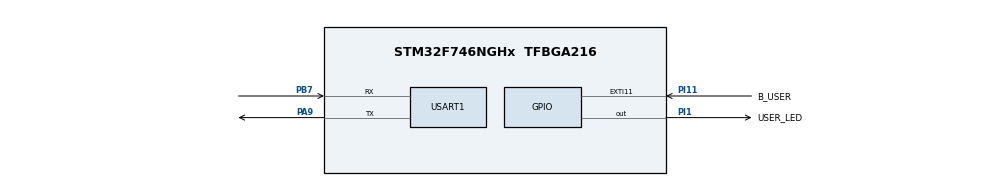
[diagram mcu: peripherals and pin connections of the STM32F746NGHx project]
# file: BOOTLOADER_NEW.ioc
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Mcu.Family=STM32F7
Mcu.Name=STM32F746NGHx
Mcu.Package=TFBGA216
NVIC.PriorityGroup=NVIC_PRIORITYGROUP_4
PA13.Mode=Serial_Wire
PA13.Signal=SYS_JTMS-SWDIO
PA14.Mode=Serial_Wire
PA14.Signal=SYS_JTCK-SWCLK
PA9.Mode=Asynchronous
PA9.Signal=USART1_TX
PB7.Mode=Asynchronous
PB7.Signal=USART1_RX
PI1.GPIO_Label=USER_LED
PI1.Signal=GPIO_Output
PI11.GPIO_Label=B_USER
PI11.Signal=GPXTI11
ProjectManager.HeapSize=0x200
ProjectManager.StackSize=0x400
ProjectManager.TargetToolchain=STM32CubeIDE
RCC.HSE_VALUE=25000000
RCC.HSI_VALUE=16000000
RCC.LSE_VALUE=32768
RCC.USBFreq_Value=96000000
RCC.VCOOutputFreq_Value=192000000
USART1.VirtualMode-Asynchronous=VM_ASYNC
VP_RTC_VS_RTC_Activate.Mode=RTC_Enabled
board=custom

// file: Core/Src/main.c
/* USER CODE BEGIN Header */
/**
  ******************************************************************************
  * @file           : main.c
  * @brief          : Main program body
  ******************************************************************************
  * @attention
  *
  * Copyright (c) 2025 STMicroelectronics.
  * All rights reserved.
  *
  * This software is licensed under terms that can be found in the LICENSE file
  * in the root directory of this software component.
  * If no LICENSE file comes with this software, it is provided AS-IS.
  *
  ******************************************************************************
  */
/* USER CODE END Header */
#include "main.h"

/* USER CODE BEGIN Includes */

#include "mem_layout.h"
#include "tiny_printf.h"

#include "jump_to_app.h"
#include "BL_Update_Part.h"      // For BL_RequestUpdate, BL_GetStatus, Bootloader_HandleUpdate
#include "BL_Functions.h"        // For Bootloader_InternalVerify
#include "bootloader_interface.h" // For Bootloader_API_t
#include "firmware_footer.h"     // For BL_Status_t, BL_OK

//Libs Include
#include "sha256.h"
#include "ecc_dsa.h"
#include "aes.h"
#include "lz4.h"
#include "cbc_mode.h"

/* USER CODE END Includes */

/* USER CODE BEGIN PM */
#define MAJOR 1			//Major Version Number
#define MINOR 2			//Minor Version Number

#define BKP_FLAG_UPDATE_REQ 0xCAFEBABE

/* USER CODE END PM */

RTC_HandleTypeDef hrtc;

UART_HandleTypeDef huart1;

void SystemClock_Config(void);
static void MX_GPIO_Init(void);
static void MX_USART1_UART_Init(void);
static void MX_RTC_Init(void);

/* USER CODE BEGIN 0 */
// [Fix: Add the Wrapper Function BEFORE the API Table]
// The API table expects a function pointer with signature: int (*VerifySlot)(uint32_t slot_id)
// But our internal function is: BL_Status_t Bootloader_InternalVerify(uint32_t slot_start, uint32_t slot_size)
// So we need this wrapper to bridge them.
int BL_VerifySlot_Wrapper(uint32_t slot_id) {
    // Note: We ignore slot_id for now and verify the active slot constants.
    // In a multi-slot system, you would switch address based on slot_id.
    if (Bootloader_InternalVerify(APP_ACTIVE_START_ADDR, APP_ACTIVE_SIZE) == BL_OK) {
        return 1; // Valid
    }
    return 0; // Invalid
}

/**
 * @brief   The Actual Shared API Table Instance.
 * @details Linker places this at 0x0800F000
 */
__attribute__((section(".shared_api_section")))
const Bootloader_API_t API_Table = {
    .magic_code = 0xDEADBEEF,
    .version = 0x0100,
    .RequestUpdate = BL_RequestUpdate,
    .GetBootStatus = BL_GetStatus,
    .VerifySlot = BL_VerifySlot_Wrapper
};

/* USER CODE END 0 */

int main(void)
{

  /* MCU Configuration--------------------------------------------------------*/

  /* Reset of all peripherals, Initializes the Flash interface and the Systick. */
  HAL_Init();

  /* Configure the system clock */
  SystemClock_Config();

  /* Initialize all configured peripherals */
  MX_GPIO_Init();
  MX_USART1_UART_Init();
  MX_RTC_Init();
  /* USER CODE BEGIN 2 */

  tfp_init(&huart1);

  printf("\r\n========================================\r\n");
	printf("Starting Bootloader Version-(%d,%d)\r\n", MAJOR, 4);
	printf("API Table Location: %p\r\n", &API_Table); // Debug print
	printf("========================================\r\n");

	printf("Jumping");
	Bootloader_JumpToApp();

	// --- 1. Check for Update Request (Magic Flag) ---
	HAL_PWR_EnableBkUpAccess();
	if (HAL_RTCEx_BKUPRead(&hrtc, RTC_BKP_DR0) == BKP_FLAG_UPDATE_REQ) {

		printf("[BL] Update Request Detected. Clearing Flag...\r\n");

		/* Clear flag */
		HAL_RTCEx_BKUPWrite(&hrtc, RTC_BKP_DR0, 0x00000000);
		HAL_PWREx_DisableBkUpReg();

		/* Perform Update (Decrypt -> Decompress -> Flash) */
		// This function will reboot on success. If it returns, update failed.
		Bootloader_HandleUpdate();
	}
	HAL_PWREx_DisableBkUpReg();

	// --- 2. Verify Application (Secure Boot) ---
	// Your friend's flow adds this check, which is CRITICAL for security.
	printf("[BL] Verifying Application integrity...\r\n");

	if (Bootloader_InternalVerify(APP_ACTIVE_START_ADDR, APP_ACTIVE_SIZE) == BL_OK) {

		printf("[BL] Verification Success! Jumping to App.\r\n");

		// Cleanup before jump
		HAL_MPU_Disable();

		Bootloader_JumpToApp();
	}
	else
	{
		// --- 3. Verification Failed (Rescue Mode) ---
		printf("[BL] CRITICAL: Verification Failed! Entering Rescue Mode.\r\n");
		printf("[BL] Status Code: 0x%08lX\r\n", BL_GetStatus());
		printf("[BL] HOLD USER BUTTON to force retry update from Download Slot.\r\n");
		// Infinite Error Loop

		while (1)
		{
			// 1. LED Blink (Hızlı Hata Modu - SOS)
			HAL_GPIO_TogglePin(GPIOI, USER_LED_Pin);
			HAL_Delay(100);

			// 2. Buton Kontrolü (User Button - Genelde PI11 veya PA0, şemaya bakın)
			// Eğer buton GPIO'su tanımlı değilse, sadece MX_GPIO_Init'e eklemeniz gerekir.
			// Örnek: Eğer Buton GPIOI Pin 11 ise:

			if (HAL_GPIO_ReadPin(GPIOI, GPIO_PIN_11) == GPIO_PIN_SET) {
				printf("[BL] User Button Detected! Forcing Update Retry...\r\n");

				// Magic Flag'i tekrar set et
				HAL_PWR_EnableBkUpAccess();
				HAL_RTCEx_BKUPWrite(&hrtc, RTC_BKP_DR0, 0xCAFEBABE);
				HAL_PWREx_DisableBkUpReg();

				// Reset at (Bootloader tekrar açılacak ve güncellemeyi deneyecek)
				NVIC_SystemReset();
			}

		}
	}

  /* USER CODE END 2 */

  /* Infinite loop */
  while (1)
  {

  }
}

void SystemClock_Config(void)
{
  RCC_OscInitTypeDef RCC_OscInitStruct = {0};
  RCC_ClkInitTypeDef RCC_ClkInitStruct = {0};

  /** Configure the main internal regulator output voltage
  */
  __HAL_RCC_PWR_CLK_ENABLE();
  __HAL_PWR_VOLTAGESCALING_CONFIG(PWR_REGULATOR_VOLTAGE_SCALE3);

  /** Initializes the RCC Oscillators according to the specified parameters
  * in the RCC_OscInitTypeDef structure.
  */
  RCC_OscInitStruct.OscillatorType = RCC_OSCILLATORTYPE_HSI|RCC_OSCILLATORTYPE_LSI;
  RCC_OscInitStruct.HSIState = RCC_HSI_ON;
  RCC_OscInitStruct.HSICalibrationValue = RCC_HSICALIBRATION_DEFAULT;
  RCC_OscInitStruct.LSIState = RCC_LSI_ON;
  RCC_OscInitStruct.PLL.PLLState = RCC_PLL_NONE;
  if (HAL_RCC_OscConfig(&RCC_OscInitStruct) != HAL_OK)
  {
    Error_Handler();
  }

  /** Initializes the CPU, AHB and APB buses clocks
  */
  RCC_ClkInitStruct.ClockType = RCC_CLOCKTYPE_HCLK|RCC_CLOCKTYPE_SYSCLK
                              |RCC_CLOCKTYPE_PCLK1|RCC_CLOCKTYPE_PCLK2;
  RCC_ClkInitStruct.SYSCLKSource = RCC_SYSCLKSOURCE_HSI;
  RCC_ClkInitStruct.AHBCLKDivider = RCC_SYSCLK_DIV1;
  RCC_ClkInitStruct.APB1CLKDivider = RCC_HCLK_DIV1;
  RCC_ClkInitStruct.APB2CLKDivider = RCC_HCLK_DIV1;

  if (HAL_RCC_ClockConfig(&RCC_ClkInitStruct, FLASH_LATENCY_0) != HAL_OK)
  {
    Error_Handler();
  }
}

static void MX_RTC_Init(void)
{

  /** Initialize RTC Only
  */
  hrtc.Instance = RTC;
  hrtc.Init.HourFormat = RTC_HOURFORMAT_24;
  hrtc.Init.AsynchPrediv = 127;
  hrtc.Init.SynchPrediv = 255;
  hrtc.Init.OutPut = RTC_OUTPUT_DISABLE;
  hrtc.Init.OutPutPolarity = RTC_OUTPUT_POLARITY_HIGH;
  hrtc.Init.OutPutType = RTC_OUTPUT_TYPE_OPENDRAIN;
  if (HAL_RTC_Init(&hrtc) != HAL_OK)
  {
    Error_Handler();
  }

}

static void MX_USART1_UART_Init(void)
{

  huart1.Instance = USART1;
  huart1.Init.BaudRate = 115200;
  huart1.Init.WordLength = UART_WORDLENGTH_8B;
  huart1.Init.StopBits = UART_STOPBITS_1;
  huart1.Init.Parity = UART_PARITY_NONE;
  huart1.Init.Mode = UART_MODE_TX_RX;
  huart1.Init.HwFlowCtl = UART_HWCONTROL_NONE;
  huart1.Init.OverSampling = UART_OVERSAMPLING_16;
  huart1.Init.OneBitSampling = UART_ONE_BIT_SAMPLE_DISABLE;
  huart1.AdvancedInit.AdvFeatureInit = UART_ADVFEATURE_NO_INIT;
  if (HAL_UART_Init(&huart1) != HAL_OK)
  {
    Error_Handler();
  }

}

static void MX_GPIO_Init(void)
{
  GPIO_InitTypeDef GPIO_InitStruct = {0};

  /* GPIO Ports Clock Enable */
  __HAL_RCC_GPIOA_CLK_ENABLE();
  __HAL_RCC_GPIOB_CLK_ENABLE();
  __HAL_RCC_GPIOI_CLK_ENABLE();

  /*Configure GPIO pin Output Level */
  HAL_GPIO_WritePin(USER_LED_GPIO_Port, USER_LED_Pin, GPIO_PIN_RESET);

  /*Configure GPIO pin : USER_LED_Pin */
  GPIO_InitStruct.Pin = USER_LED_Pin;
  GPIO_InitStruct.Mode = GPIO_MODE_OUTPUT_PP;
  GPIO_InitStruct.Pull = GPIO_NOPULL;
  GPIO_InitStruct.Speed = GPIO_SPEED_FREQ_LOW;
  HAL_GPIO_Init(USER_LED_GPIO_Port, &GPIO_InitStruct);

  /*Configure GPIO pin : B_USER_Pin */
  GPIO_InitStruct.Pin = B_USER_Pin;
  GPIO_InitStruct.Mode = GPIO_MODE_IT_RISING;
  GPIO_InitStruct.Pull = GPIO_NOPULL;
  HAL_GPIO_Init(B_USER_GPIO_Port, &GPIO_InitStruct);

}

/* USER CODE BEGIN 4 */

void print_hardfault_reason(void) {
    volatile uint32_t cfsr  = SCB->CFSR;
    volatile uint32_t hfsr  = SCB->HFSR;
    volatile uint32_t mmfar = SCB->MMFAR;
    volatile uint32_t bfar  = SCB->BFAR;

    printf("\r\n--- Hard Fault Detected ---\r\n");
    printf("CFSR:  0x%08lX\r\n", cfsr);
    printf("HFSR:  0x%08lX\r\n", hfsr);
    printf("MMFAR: 0x%08lX\r\n", mmfar);
    printf("BFAR:  0x%08lX\r\n", bfar);

    if (cfsr & (1 << 24)) printf(" -> Unaligned Access UsageFault\r\n");
    if (cfsr & (1 << 25)) printf(" -> Divide by Zero UsageFault\r\n");
    if (cfsr & (1 << 18)) printf(" -> Integrity Check Error\r\n");
    if (cfsr & (1 << 17)) printf(" -> Invalid PC Load\r\n");
    if (cfsr & (1 << 16)) printf(" -> Invalid State\r\n");
    if (cfsr & (1 << 0))  printf(" -> Instruction Access Violation (MPU)\r\n");
    if (cfsr & (1 << 1))  printf(" -> Data Access Violation (MPU)\r\n");
    if (cfsr & (1 << 8))  printf(" -> Instruction Bus Error\r\n");
    if (cfsr & (1 << 9))  printf(" -> Precise Data Bus Error\r\n");
    if (cfsr & (1 << 15)) printf(" -> BFAR Address Valid: 0x%08lX\r\n", bfar);
}

/* USER CODE END 4 */

void Error_Handler(void)
{
  __disable_irq();
  while (1)
  {
  }
}
